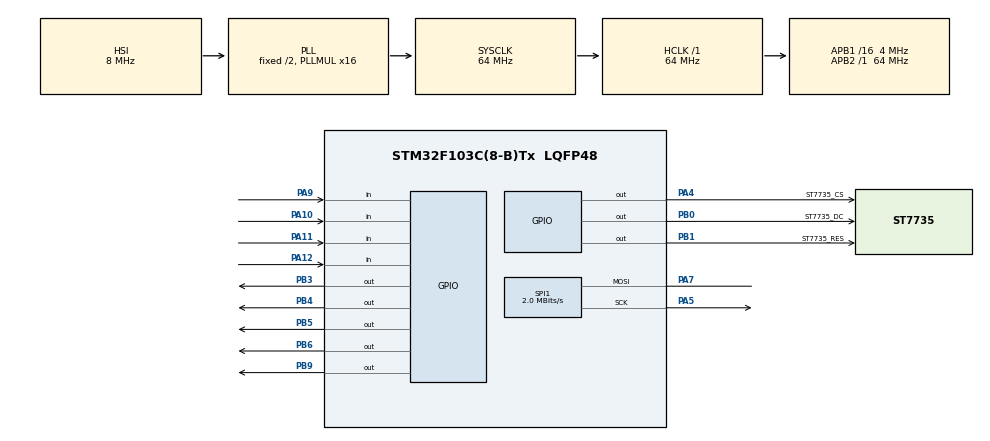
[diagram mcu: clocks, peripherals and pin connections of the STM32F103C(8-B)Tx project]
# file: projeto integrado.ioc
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Mcu.Family=STM32F1
Mcu.Name=STM32F103C(8-B)Tx
Mcu.Package=LQFP48
NVIC.PriorityGroup=NVIC_PRIORITYGROUP_4
PA10.GPIO_PuPd=GPIO_PULLUP
PA10.Signal=GPIO_Input
PA11.GPIO_PuPd=GPIO_PULLUP
PA11.Signal=GPIO_Input
PA12.GPIO_PuPd=GPIO_PULLUP
PA12.Signal=GPIO_Input
PA13.Mode=Serial_Wire
PA13.Signal=SYS_JTMS-SWDIO
PA14.Mode=Serial_Wire
PA14.Signal=SYS_JTCK-SWCLK
PA4.GPIO_Label=ST7735_CS
PA4.Signal=GPIO_Output
PA5.Mode=Simplex_Bidirectional_Master
PA5.Signal=SPI1_SCK
PA7.Mode=Simplex_Bidirectional_Master
PA7.Signal=SPI1_MOSI
PA9.GPIO_PuPd=GPIO_PULLUP
PA9.Signal=GPIO_Input
PB0.GPIO_Label=ST7735_DC
PB0.Signal=GPIO_Output
PB1.GPIO_Label=ST7735_RES
PB1.Signal=GPIO_Output
PB3.Signal=GPIO_Output
PB4.Signal=GPIO_Output
PB5.Signal=GPIO_Output
PB6.Signal=GPIO_Output
PB9.PinState=GPIO_PIN_SET
PB9.Signal=GPIO_Output
ProjectManager.HeapSize=0x200
ProjectManager.StackSize=0x400
ProjectManager.TargetToolchain=STM32CubeIDE
RCC.AHBFreq_Value=64000000
RCC.APB1CLKDivider=RCC_HCLK_DIV16
RCC.APB1Freq_Value=4000000
RCC.APB1TimFreq_Value=8000000
RCC.APB2Freq_Value=64000000
RCC.APB2TimFreq_Value=64000000
RCC.HCLKFreq_Value=64000000
RCC.PLLMUL=RCC_PLL_MUL16
RCC.SYSCLKFreq_VALUE=64000000
RCC.SYSCLKSource=RCC_SYSCLKSOURCE_PLLCLK
RCC.USBFreq_Value=64000000
SPI1.BaudRatePrescaler=SPI_BAUDRATEPRESCALER_32
SPI1.CLKPolarity=SPI_POLARITY_LOW
SPI1.CalculateBaudRate=2.0 MBits/s
SPI1.Direction=SPI_DIRECTION_1LINE
SPI1.Mode=SPI_MODE_MASTER
SPI1.VirtualType=VM_MASTER
board=custom

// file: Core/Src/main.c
/* USER CODE BEGIN Header */
/**
  ******************************************************************************
  * @file           : main.c
  * @brief          : Main program body
  ******************************************************************************
  * @attention
  *
  * <h2><center>&copy; Copyright (c) 2024 STMicroelectronics.
  * All rights reserved.</center></h2>
  *
  * This software component is licensed by ST under BSD 3-Clause license,
  * the "License"; You may not use this file except in compliance with the
  * License. You may obtain a copy of the License at:
  *                        opensource.org/licenses/BSD-3-Clause
  *
  ******************************************************************************
  */
/* USER CODE END Header */
#include "main.h"

/* USER CODE BEGIN Includes */
#include "ST7735\st7735.h"
#include "string.h"
/* USER CODE END Includes */

SPI_HandleTypeDef hspi1;

void SystemClock_Config(void);
static void MX_GPIO_Init(void);
static void MX_SPI1_Init(void);

/* USER CODE BEGIN 0 */
void mostrarMatriz(char matriz[9], bool vazios, uint16_t xColor, uint16_t oColor) {
  int x = 0;
  int y = 0;
  uint16_t color;
  for (int i = 0; i < 9; ++i) {
	  if (matriz[i] == '_') {
		  color = WHITE;
	  } else if (matriz[i] == 'X'){
		  color = xColor;
	  } else {
		  color = oColor;
	  }
    if (vazios || matriz[i] != '_') {
      ST7735_WriteCharE(x, y, matriz[i], Font_16x26, color, BLACK);
    }
    if (i == 2 || i == 5) {
      y += 25;
      x = 0;
    } else {
      x += 30;
    }
  }
}

void atualizarCursor(int direcao, int* posicaoCursor, char matriz[9], int* x, int* y, uint16_t xColor, uint16_t oColor) {
  int cursor = *posicaoCursor;
  do {
    cursor += direcao;
    if (cursor > 8) {
      cursor = 0;
    } else if (cursor < 0) {
      cursor = 8;
    }

	if (direcao > 0) {
	  	  if (cursor == 3 || cursor == 6 || cursor == 0) {
	  		  *y += (cursor == 0) ? -50 : 25; // ternary operator
	  		  *x = 0;
	  	  } else {
	  		  *x = (cursor % 3) * 30;
	  	  }
	    } else {
	  	  if (cursor == 2 || cursor == 5 || cursor == 8) {
	  		  *y += (cursor == 8) ? 50 : -25;
	  		  *x = 60;
	  	  } else {
	  		  *x = (cursor % 3) * 30;
	  	  }
	}
  } while (matriz[cursor] != '_');
  *posicaoCursor = cursor;
  mostrarMatriz(matriz, true, xColor, oColor);
  HAL_Delay(250);
}

void selecionarCor(char letra, uint16_t* color) {
	int select = 0;
	uint16_t colors[] = { WHITE, BLUE, RED, GREEN, CYAN, MAGENTA, YELLOW };
	ST7735_FillScreen(BLACK);
	ST7735_WriteString(0, 0, "Selecione uma cor para", Font_11x18, WHITE, BLACK);
	while (1) {
		ST7735_WriteCharE(100, 20, letra, Font_11x18, colors[select], BLACK);

		select += (HAL_GPIO_ReadPin(GPIOA, GPIO_PIN_12) == 0) ? 1 : 0;
		select -= (HAL_GPIO_ReadPin(GPIOA, GPIO_PIN_9) == 0) ? 1 : 0;
		if (select > 6) {
			select = 0;
		} else if (select < 0) {
			select = 6;
		}

		if (HAL_GPIO_ReadPin(GPIOA, GPIO_PIN_10) == 0) {
			*color = colors[select];
			break;
		}
		HAL_Delay(200);
	}
	select = 0;
}

void resetJogo(char matriz[9], int* jogadorRodada, int* posicaoCursor, int* jogadas, int* x, int* y, uint16_t xColor, uint16_t oColor) {
    memset(matriz, '_', 9);
    mostrarMatriz(matriz, true, xColor, oColor);
    *jogadorRodada = (*jogadorRodada == 1) ? 1 : 2;
    *posicaoCursor = 0;
    *jogadas = 1;
    *x = 0;
    *y = 0;
}
/* USER CODE END 0 */

int main(void)
{

  /* MCU Configuration--------------------------------------------------------*/

  /* Reset of all peripherals, Initializes the Flash interface and the Systick. */
  HAL_Init();

  /* Configure the system clock */
  SystemClock_Config();

  /* Initialize all configured peripherals */
  MX_GPIO_Init();
  MX_SPI1_Init();
  /* USER CODE BEGIN 2 */
  char matriz[9] = { '_', '_', '_', '_', '_', '_', '_', '_', '_' };
  int jogadorRodada = 1;
  int posicaoCursor = 0;
  int placar1 = 0;
  int placar2 = 0;
  int jogadas = 1;
  int x = 0;
  int y = 0;
  uint32_t piscaCursor = 0;
  uint16_t xColor = WHITE;
  uint16_t oColor = WHITE;

  ST7735_Init();
  selecionarCor('X', &xColor);
  selecionarCor('O', &oColor);
  ST7735_FillScreen(BLACK);
  ST7735_WriteCharE(120, 20, 'x', Font_16x26, WHITE, BLACK);
  mostrarMatriz(matriz, true, xColor, oColor);
  /* USER CODE END 2 */

  /* Infinite loop */
  /* USER CODE BEGIN WHILE */
  while (1) {
	  if (HAL_GetTick() - piscaCursor > 1000) {
		  piscaCursor = HAL_GetTick();
		  ST7735_WriteCharE(x, y, jogadorRodada == 1 ? 'X' : 'O', Font_16x26, jogadorRodada == 1 ? xColor : oColor, BLACK);
	  } else if (HAL_GetTick() - piscaCursor > 500) {
		  ST7735_WriteCharE(x, y, ' ', Font_16x26, WHITE, BLACK);
	  }

    ST7735_WriteCharE(100, 20, placar1 + '0', Font_16x26, WHITE, BLACK);
    ST7735_WriteCharE(140, 20, placar2 + '0', Font_16x26, WHITE, BLACK);
    mostrarMatriz(matriz, false, xColor, oColor);

    if (HAL_GPIO_ReadPin(GPIOA, GPIO_PIN_12) == 0) {
      atualizarCursor(1, &posicaoCursor, matriz, &x, &y, xColor, oColor);
    } else if (HAL_GPIO_ReadPin(GPIOA, GPIO_PIN_9) == 0) {
      atualizarCursor(-1, &posicaoCursor, matriz, &x, &y, xColor, oColor);
    }

    if (HAL_GPIO_ReadPin(GPIOA, GPIO_PIN_10) == 0) {
      if (matriz[posicaoCursor] == '_') {
        if (jogadorRodada == 1) {
          matriz[posicaoCursor] = 'X';
          jogadorRodada = 2;
		} else {
			matriz[posicaoCursor] = 'O';
			jogadorRodada = 1;
		}
        if (jogadas < 9) {
        	atualizarCursor(1, &posicaoCursor, matriz, &x, &y, xColor, oColor);
        }
        jogadas++;
      }

      if (jogadas >= 5) {
        mostrarMatriz(matriz, false, xColor, oColor);
        HAL_Delay(1000);
        int vencedor = 0;
        for (int i = 0; i < 9; i += 3) {
          if (matriz[i] != '_' && matriz[i] == matriz[i + 1] && matriz[i] == matriz[i + 2]) {
            vencedor = matriz[i] == 'X' ? 1 : 2;
            break;
          }
        }

        for (int i = 0; i < 3; ++i) {
          if (matriz[i] != '_' && matriz[i] == matriz[i + 3] && matriz[i] == matriz[i + 6]) {
            vencedor = matriz[i] == 'X' ? 1 : 2;
            break;
          }
        }

        if (matriz[0] != '_' && matriz[0] == matriz[4] && matriz[0] == matriz[8]) {
          vencedor = matriz[0] == 'X' ? 1 : 2;
        }
        if (matriz[2] != '_' && matriz[2] == matriz[4] && matriz[2] == matriz[6]) {
          vencedor = matriz[2] == 'X' ? 1 : 2;
        }

        if (vencedor || (!vencedor && jogadas > 9)) {
        	if (vencedor) {
        		(vencedor == 1) ? placar1++ : placar2++;
        		if (placar1 == 2 || placar2 == 2) {
        			for (int i = GPIO_PIN_3; i < GPIO_PIN_7; i = i << 1) {
        				HAL_GPIO_WritePin(GPIOB, i, 1);
        				HAL_Delay(75);
        				HAL_GPIO_WritePin(GPIOB, i, 0);
        				HAL_Delay(75);
        			}
        			for (int i = 0; i < 3; ++i) {
        				HAL_GPIO_WritePin(GPIOB, GPIO_PIN_3 + GPIO_PIN_4 + GPIO_PIN_5 + GPIO_PIN_6, 1);
        				HAL_GPIO_WritePin(GPIOB, GPIO_PIN_9, 0);
        				HAL_Delay(500);
        				HAL_GPIO_WritePin(GPIOB, GPIO_PIN_3 + GPIO_PIN_4 + GPIO_PIN_5 + GPIO_PIN_6, 0);
        				HAL_GPIO_WritePin(GPIOB, GPIO_PIN_9, 1);
        				HAL_Delay(500);
        			}
        			placar1 = 0;
        			placar2 = 0;
        		}
        	}
        	resetJogo(matriz, &jogadorRodada, &posicaoCursor, &jogadas, &x, &y, xColor, oColor);
        }
      }
    }
  /* USER CODE END WHILE */

  }
}

void SystemClock_Config(void)
{
  RCC_OscInitTypeDef RCC_OscInitStruct = {0};
  RCC_ClkInitTypeDef RCC_ClkInitStruct = {0};

  /** Initializes the RCC Oscillators according to the specified parameters
  * in the RCC_OscInitTypeDef structure.
  */
  RCC_OscInitStruct.OscillatorType = RCC_OSCILLATORTYPE_HSI;
  RCC_OscInitStruct.HSIState = RCC_HSI_ON;
  RCC_OscInitStruct.HSICalibrationValue = RCC_HSICALIBRATION_DEFAULT;
  RCC_OscInitStruct.PLL.PLLState = RCC_PLL_ON;
  RCC_OscInitStruct.PLL.PLLSource = RCC_PLLSOURCE_HSI_DIV2;
  RCC_OscInitStruct.PLL.PLLMUL = RCC_PLL_MUL16;
  if (HAL_RCC_OscConfig(&RCC_OscInitStruct) != HAL_OK)
  {
    Error_Handler();
  }
  /** Initializes the CPU, AHB and APB buses clocks
  */
  RCC_ClkInitStruct.ClockType = RCC_CLOCKTYPE_HCLK|RCC_CLOCKTYPE_SYSCLK
                              |RCC_CLOCKTYPE_PCLK1|RCC_CLOCKTYPE_PCLK2;
  RCC_ClkInitStruct.SYSCLKSource = RCC_SYSCLKSOURCE_PLLCLK;
  RCC_ClkInitStruct.AHBCLKDivider = RCC_SYSCLK_DIV1;
  RCC_ClkInitStruct.APB1CLKDivider = RCC_HCLK_DIV16;
  RCC_ClkInitStruct.APB2CLKDivider = RCC_HCLK_DIV1;

  if (HAL_RCC_ClockConfig(&RCC_ClkInitStruct, FLASH_LATENCY_2) != HAL_OK)
  {
    Error_Handler();
  }
}

static void MX_SPI1_Init(void)
{

  /* SPI1 parameter configuration*/
  hspi1.Instance = SPI1;
  hspi1.Init.Mode = SPI_MODE_MASTER;
  hspi1.Init.Direction = SPI_DIRECTION_1LINE;
  hspi1.Init.DataSize = SPI_DATASIZE_8BIT;
  hspi1.Init.CLKPolarity = SPI_POLARITY_LOW;
  hspi1.Init.CLKPhase = SPI_PHASE_1EDGE;
  hspi1.Init.NSS = SPI_NSS_SOFT;
  hspi1.Init.BaudRatePrescaler = SPI_BAUDRATEPRESCALER_32;
  hspi1.Init.FirstBit = SPI_FIRSTBIT_MSB;
  hspi1.Init.TIMode = SPI_TIMODE_DISABLE;
  hspi1.Init.CRCCalculation = SPI_CRCCALCULATION_DISABLE;
  hspi1.Init.CRCPolynomial = 10;
  if (HAL_SPI_Init(&hspi1) != HAL_OK)
  {
    Error_Handler();
  }

}

static void MX_GPIO_Init(void)
{
  GPIO_InitTypeDef GPIO_InitStruct = {0};

  /* GPIO Ports Clock Enable */
  __HAL_RCC_GPIOA_CLK_ENABLE();
  __HAL_RCC_GPIOB_CLK_ENABLE();

  /*Configure GPIO pin Output Level */
  HAL_GPIO_WritePin(ST7735_CS_GPIO_Port, ST7735_CS_Pin, GPIO_PIN_RESET);

  /*Configure GPIO pin Output Level */
  HAL_GPIO_WritePin(GPIOB, ST7735_DC_Pin|ST7735_RES_Pin|GPIO_PIN_3|GPIO_PIN_4
                          |GPIO_PIN_5|GPIO_PIN_6, GPIO_PIN_RESET);

  /*Configure GPIO pin Output Level */
  HAL_GPIO_WritePin(GPIOB, GPIO_PIN_9, GPIO_PIN_SET);

  /*Configure GPIO pin : ST7735_CS_Pin */
  GPIO_InitStruct.Pin = ST7735_CS_Pin;
  GPIO_InitStruct.Mode = GPIO_MODE_OUTPUT_PP;
  GPIO_InitStruct.Pull = GPIO_NOPULL;
  GPIO_InitStruct.Speed = GPIO_SPEED_FREQ_LOW;
  HAL_GPIO_Init(ST7735_CS_GPIO_Port, &GPIO_InitStruct);

  /*Configure GPIO pins : ST7735_DC_Pin ST7735_RES_Pin PB3 PB4
                           PB5 PB6 PB9 */
  GPIO_InitStruct.Pin = ST7735_DC_Pin|ST7735_RES_Pin|GPIO_PIN_3|GPIO_PIN_4
                          |GPIO_PIN_5|GPIO_PIN_6|GPIO_PIN_9;
  GPIO_InitStruct.Mode = GPIO_MODE_OUTPUT_PP;
  GPIO_InitStruct.Pull = GPIO_NOPULL;
  GPIO_InitStruct.Speed = GPIO_SPEED_FREQ_LOW;
  HAL_GPIO_Init(GPIOB, &GPIO_InitStruct);

  /*Configure GPIO pins : PA9 PA10 PA11 PA12 */
  GPIO_InitStruct.Pin = GPIO_PIN_9|GPIO_PIN_10|GPIO_PIN_11|GPIO_PIN_12;
  GPIO_InitStruct.Mode = GPIO_MODE_INPUT;
  GPIO_InitStruct.Pull = GPIO_PULLUP;
  HAL_GPIO_Init(GPIOA, &GPIO_InitStruct);

}

void Error_Handler(void)
{
  __disable_irq();
  while (1)
  {
  }
}

/************************ (C) COPYRIGHT STMicroelectronics *****END OF FILE****/
